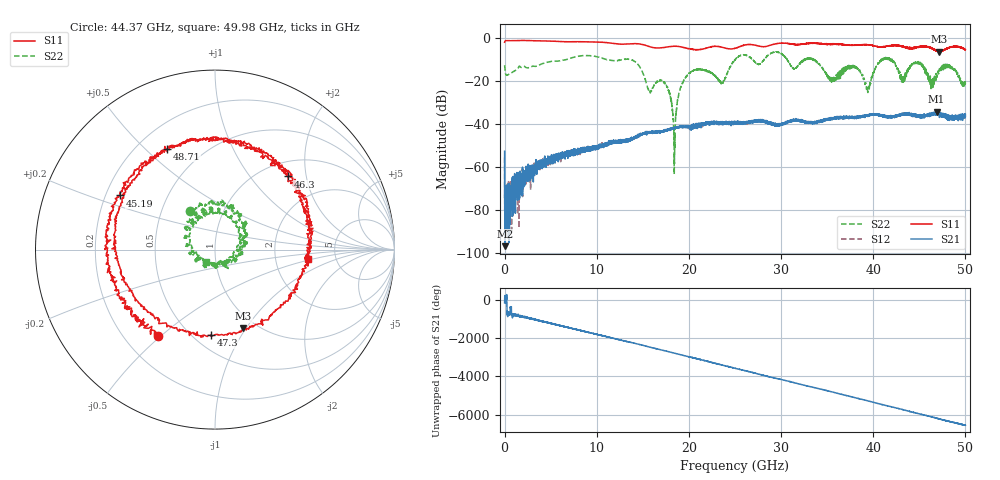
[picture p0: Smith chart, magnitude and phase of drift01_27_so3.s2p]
!Created with skrf (http://scikit-rf.org).
# Hz S RI R 50.0
!freq ReS11 ImS11 ReS21 ImS21 ReS12 ImS12 ReS22 ImS22
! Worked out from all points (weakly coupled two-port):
!   10001 points, 300 kHz to 50 GHz, reference 50 ohm
!   highest |S21| = -34.35 dB at 46.87 GHz (marker M1); lowest = -96.8 dB at 25.3 MHz (marker M2)
!   lowest |S11| = -6.6 dB at 47.15 GHz (marker M3), VSWR 2.75, Z = 43.3 - j48.6 ohm
!   |S11| at or under -10 dB: nowhere
!   |S22| runs from -63.4 to -6.6 dB; largest |S21 - S12| = 0.0039
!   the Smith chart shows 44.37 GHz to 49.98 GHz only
!   S11 on the Smith chart (normalised r, x): 44.37 GHz: 0.34, -0.49; 45.19 GHz: 0.26, +0.25; 46.3 GHz: 1.29, +1.58; 47.3 GHz: 0.61, -0.75; 48.71 GHz: 0.32, +0.59; 49.98 GHz: 3.08, -0.43
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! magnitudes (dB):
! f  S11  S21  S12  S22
! 300 kHz  -2.2  -52.7  -55.6  -12.8
! 25.3 MHz  -1.9  -96.8  -78.9  -14.0
! 265.3 MHz  -1.4  -81.3  -70.7  -17.5
! 8.335 GHz  -2.0  -52.9  -52.7  -8.5
! 16.67 GHz  -4.8  -43.7  -43.9  -20.0
! 17.74 GHz  -4.3  -42.7  -42.8  -23.8
! 18.44 GHz  -4.1  -41.9  -41.9  -53.4
! 19.9 GHz  -5.1  -41.6  -41.4  -17.2
! 23.6 GHz  -4.5  -39.5  -39.6  -20.6
! 25 GHz  -5.0  -39.7  -39.8  -10.3
! 33.34 GHz  -2.6  -39.2  -39.1  -10.0
! 39.37 GHz  -3.3  -36.1  -35.9  -23.7
! 41.67 GHz  -3.9  -37.0  -36.8  -9.6
! 44.37 GHz  -4.8  -36.3  -35.9  -11.8
! 45.19 GHz  -4.3  -36.6  -36.0  -12.4
! 46.3 GHz  -4.8  -35.4  -35.9  -22.3
! 46.87 GHz  -6.2  -34.3  -35.9  -17.1
! 47.15 GHz  -6.6  -35.6  -35.3  -15.2
! 47.3 GHz  -6.4  -35.4  -36.1  -15.4
! 48.71 GHz  -4.1  -37.5  -37.3  -14.4
! 49.98 GHz  -5.7  -36.5  -36.2  -21.6
! 50 GHz  -5.6  -35.7  -36.2  -22.1
